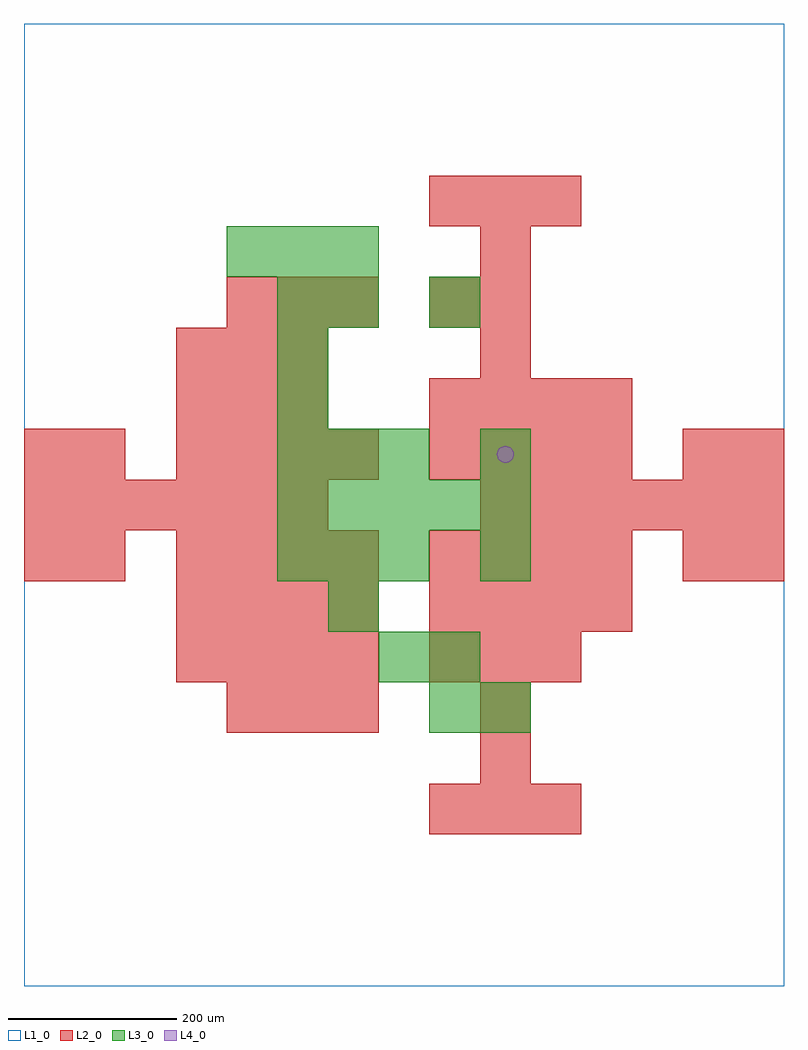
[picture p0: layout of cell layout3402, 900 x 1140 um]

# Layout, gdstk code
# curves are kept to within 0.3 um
import gdstk
lib = gdstk.Library(unit=1e-6, precision=1e-09)
def R(c, l, rs):  # rectangles x0, y0, x1, y1
    for r in rs: c.add(gdstk.rectangle(r[:2], r[2:], *l))
def A(c, l, x, y, w, h, nx, ny, dx, dy):  # array of equal rectangles
    R(c, l, [(x+i*dx, y+j*dy, x+i*dx+w, y+j*dy+h) for i in range(nx) for j in range(ny)])
def P(c, l, *ps):  # polygons
    for p in ps: c.add(gdstk.Polygon(p, *l))
L1_0 = (1, 0)
L2_0 = (2, 0)
L3_0 = (3, 0)
L4_0 = (4, 0)

layout3402 = lib.new_cell('layout3402')
R(layout3402, L1_0, [(0,0,900,1140)])
A(layout3402, L2_0, 480, 180, 60, 60, 3, 2, 60, 180)
A(layout3402, L2_0, 240, 300, 60, 60, 3, 2, 60, 480)
A(layout3402, L2_0, 180, 360, 60, 60, 4, 3, 60, 60)
A(layout3402, L2_0, 480, 420, 60, 60, 4, 2, 60, 60)
A(layout3402, L2_0, 0, 540, 60, 60, 6, 1, 60, 0)
A(layout3402, L2_0, 540, 540, 60, 60, 6, 1, 60, 0)
A(layout3402, L2_0, 180, 600, 60, 60, 4, 1, 60, 0)
A(layout3402, L2_0, 480, 600, 60, 60, 4, 2, 60, 60)
A(layout3402, L2_0, 180, 660, 60, 60, 3, 2, 60, 60)
A(layout3402, L2_0, 540, 720, 60, 60, 1, 3, 0, 60)
A(layout3402, L2_0, 480, 900, 60, 60, 3, 1, 60, 0)
R(layout3402, L2_0, [(540,240,600,300), (540,300,600,360), (0,480,60,540), (60,480,120,540), (780,480,840,540), (840,480,900,540), (0,600,60,660), (60,600,120,660), (780,600,840,660), (840,600,900,660), (480,780,540,840)])
A(layout3402, L3_0, 300, 480, 60, 60, 3, 2, 60, 120)
A(layout3402, L3_0, 300, 540, 60, 60, 5, 1, 60, 0)
A(layout3402, L3_0, 300, 660, 60, 60, 1, 3, 0, 60)
A(layout3402, L3_0, 240, 840, 60, 60, 3, 1, 60, 0)
R(layout3402, L3_0, [(480,300,540,360), (540,300,600,360), (420,360,480,420), (480,360,540,420), (360,420,420,480), (540,480,600,540), (540,600,600,660), (360,780,420,840), (480,780,540,840)])
P(layout3402, L4_0, [(580,630),(579.239,633.827),(577.071,637.071),(573.827,639.239),(570,640),(566.173,639.239),(562.929,637.071),(560.761,633.827),(560,630),(560.761,626.173),(562.929,622.929),(566.173,620.761),(570,620),(573.827,620.761),(577.071,622.929),(579.239,626.173)])

lib.write_gds('layout3402.gds')
